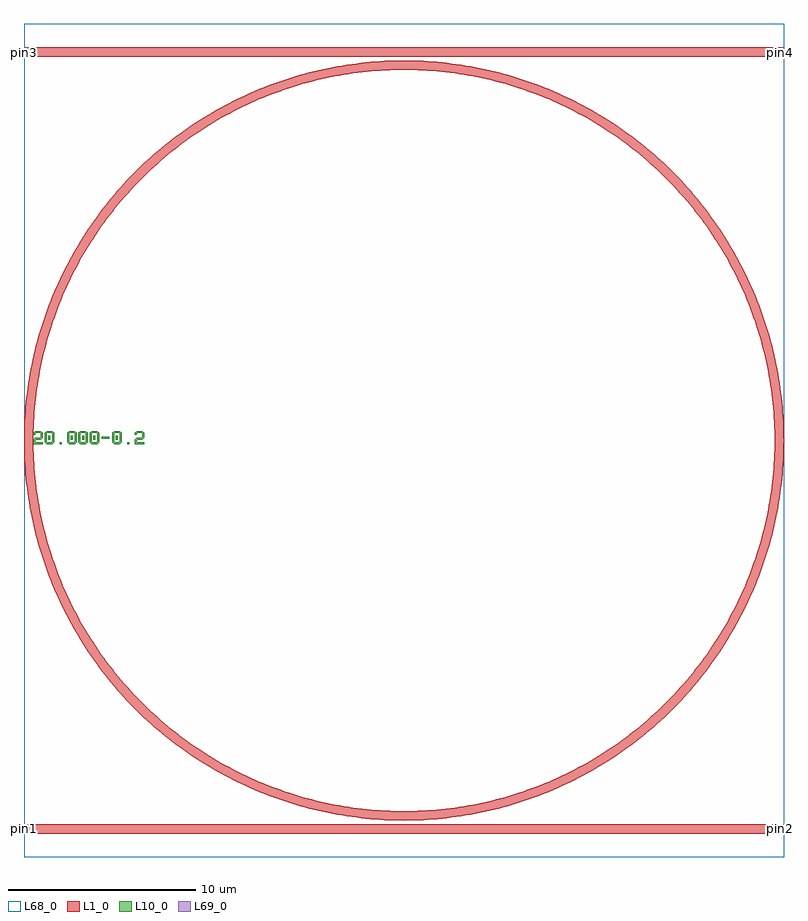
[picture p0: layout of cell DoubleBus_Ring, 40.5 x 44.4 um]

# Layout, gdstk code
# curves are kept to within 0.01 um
import gdstk
lib = gdstk.Library(unit=1e-6, precision=1e-09)
def R(c, l, rs):  # rectangles x0, y0, x1, y1
    for r in rs: c.add(gdstk.rectangle(r[:2], r[2:], *l))
def A(c, l, x, y, w, h, nx, ny, dx, dy):  # array of equal rectangles
    R(c, l, [(x+i*dx, y+j*dy, x+i*dx+w, y+j*dy+h) for i in range(nx) for j in range(ny)])
def P(c, l, *ps):  # polygons
    for p in ps: c.add(gdstk.Polygon(p, *l))
L1_0 = (1, 0)
L10_0 = (10, 0)
L68_0 = (68, 0)
L69_0 = (69, 0)

doublebus_ring = lib.new_cell('DoubleBus_Ring')
R(doublebus_ring, L1_0, [(0,-0.25,40.5,0.25), (0,41.15,40.5,41.65)])
P(doublebus_ring, L1_0, [(20.25,0.45),(19.233,0.476),(18.218,0.552),(17.208,0.68),(16.206,0.858),(15.461,1.024),(14.478,1.29),(13.51,1.604),(12.559,1.967),(11.628,2.377),(10.718,2.834),(9.833,3.335),(8.973,3.88),(8.347,4.317),(7.539,4.936),(6.763,5.595),(6.021,6.291),(5.315,7.025),(4.647,7.792),(4.018,8.592),(3.43,9.423),(2.885,10.283),(2.384,11.168),(1.927,12.078),(1.517,13.009),(1.154,13.96),(0.84,14.928),(0.574,15.911),(0.408,16.656),(0.23,17.658),(0.102,18.668),(0.026,19.683),(0,20.7),(0.026,21.717),(0.102,22.732),(0.23,23.742),(0.408,24.744),(0.574,25.489),(0.84,26.472),(1.154,27.44),(1.517,28.391),(1.927,29.322),(2.384,30.232),(2.885,31.117),(3.43,31.977),(3.867,32.603),(4.486,33.411),(5.145,34.187),(5.841,34.929),(6.575,35.635),(7.342,36.303),(8.142,36.932),(8.973,37.52),(9.833,38.065),(10.718,38.566),(11.628,39.023),(12.559,39.433),(13.51,39.796),(14.478,40.11),(15.461,40.376),(16.206,40.542),(17.208,40.72),(18.218,40.848),(19.233,40.924),(20.25,40.95),(21.267,40.924),(22.282,40.848),(23.292,40.72),(24.294,40.542),(25.039,40.376),(26.022,40.11),(26.99,39.796),(27.941,39.433),(28.872,39.023),(29.782,38.566),(30.667,38.065),(31.527,37.52),(32.153,37.083),(32.961,36.464),(33.737,35.805),(34.479,35.109),(35.185,34.375),(35.853,33.608),(36.482,32.808),(37.07,31.977),(37.615,31.117),(38.116,30.232),(38.573,29.322),(38.983,28.391),(39.346,27.44),(39.66,26.472),(39.926,25.489),(40.092,24.744),(40.27,23.742),(40.398,22.732),(40.474,21.717),(40.5,20.7),(40,20.7),(39.986,21.444),(39.924,22.435),(39.844,23.175),(39.737,23.912),(39.551,24.887),(39.38,25.612),(39.109,26.567),(38.874,27.273),(38.425,28.43),(38.12,29.109),(37.791,29.777),(37.186,30.86),(36.515,31.904),(36.081,32.509),(35.625,33.097),(34.816,34.038),(34.303,34.577),(33.77,35.097),(33.218,35.596),(32.647,36.075),(32.059,36.531),(31.454,36.965),(30.833,37.375),(30.197,37.762),(29.106,38.353),(28.434,38.675),(27.751,38.97),(26.589,39.405),(25.879,39.631),(25.162,39.83),(24.437,40.001),(23.707,40.145),(22.971,40.262),(22.232,40.35),(21.49,40.411),(20.746,40.444),(19.506,40.436),(18.762,40.394),(18.021,40.324),(17.283,40.226),(16.549,40.1),(15.338,39.83),(14.621,39.631),(13.911,39.405),(13.211,39.153),(12.52,38.875),(11.841,38.57),(11.173,38.241),(10.519,37.886),(9.878,37.507),(9.252,37.104),(8.641,36.678),(8.047,36.229),(7.471,35.758),(6.912,35.266),(6.373,34.753),(5.684,34.038),(4.875,33.097),(4.127,32.107),(3.443,31.072),(2.825,29.996),(2.275,28.884),(1.797,27.739),(1.391,26.567),(1.06,25.371),(0.805,24.157),(0.626,22.929),(0.539,21.94),(0.5,20.7),(0.539,19.46),(0.656,18.225),(0.85,16.999),(1.12,15.788),(1.391,14.833),(1.797,13.661),(2.275,12.516),(2.825,11.404),(3.443,10.328),(4.127,9.293),(4.875,8.303),(5.684,7.362),(6.55,6.474),(7.471,5.642),(8.441,4.869),(9.459,4.159),(10.519,3.514),(11.173,3.159),(11.617,2.937),(12.749,2.43),(13.911,1.995),(14.859,1.7),(16.063,1.399),(17.283,1.174),(18.515,1.026),(19.754,0.956),(20.746,0.956),(21.985,1.026),(23.217,1.174),(24.437,1.399),(25.641,1.7),(26.589,1.995),(27.751,2.43),(28.883,2.937),(29.327,3.159),(29.981,3.514),(31.041,4.159),(32.059,4.869),(32.839,5.482),(33.77,6.303),(34.647,7.18),(35.468,8.111),(36.081,8.891),(36.791,9.909),(37.436,10.969),(37.791,11.623),(38.013,12.067),(38.52,13.199),(38.955,14.361),(39.181,15.071),(39.38,15.788),(39.65,16.999),(39.844,18.225),(39.961,19.46),(40,20.7),(40.5,20.7),(40.474,19.683),(40.398,18.668),(40.27,17.658),(40.092,16.656),(39.926,15.911),(39.66,14.928),(39.346,13.96),(38.983,13.009),(38.573,12.078),(38.116,11.168),(37.615,10.283),(37.07,9.423),(36.633,8.797),(36.014,7.989),(35.355,7.213),(34.659,6.471),(33.925,5.765),(33.158,5.097),(32.358,4.468),(31.527,3.88),(30.667,3.335),(29.782,2.834),(28.872,2.377),(27.941,1.967),(26.99,1.604),(26.022,1.29),(25.039,1.024),(24.294,0.858),(23.292,0.68),(22.282,0.552),(21.267,0.476)])
A(doublebus_ring, L10_0, 2.5, 20.75, 0.1, 0.2, 3, 1, 0.6, 0)
R(doublebus_ring, L10_0, [(1.9,20.5,2,20.6), (5.5,20.5,5.6,20.6), (1.3,20.75,1.4,20.95), (4.9,20.75,5,20.95), (4.15,20.8,4.55,20.9)])
P(doublebus_ring, L10_0, [(0.5,20.5),(0.5,20.75),(0.6,20.85),(0.85,20.85),(0.9,20.9),(0.9,21.05),(0.85,21.1),(0.65,21.1),(0.6,21.05),(0.6,21),(0.5,21),(0.5,21.1),(0.6,21.2),(0.9,21.2),(1,21.1),(1,20.85),(0.9,20.75),(0.65,20.75),(0.6,20.7),(0.6,20.6),(1,20.6),(1,20.5)],
  [(1.2,20.5),(1.1,20.6),(1.1,21.1),(1.2,21.2),(1.5,21.2),(1.6,21.1),(1.25,21.1),(1.2,21.05),(1.2,20.65),(1.25,20.6),(1.45,20.6),(1.5,20.65),(1.5,21.05),(1.45,21.1),(1.6,21.1),(1.6,20.6),(1.5,20.5)],
  [(2.4,20.5),(2.3,20.6),(2.3,21.1),(2.4,21.2),(2.7,21.2),(2.8,21.1),(2.45,21.1),(2.4,21.05),(2.4,20.65),(2.45,20.6),(2.65,20.6),(2.7,20.65),(2.7,21.05),(2.65,21.1),(2.8,21.1),(2.8,20.6),(2.7,20.5)],
  [(3,20.5),(2.9,20.6),(2.9,21.1),(3,21.2),(3.3,21.2),(3.4,21.1),(3.05,21.1),(3,21.05),(3,20.65),(3.05,20.6),(3.25,20.6),(3.3,20.65),(3.3,21.05),(3.25,21.1),(3.4,21.1),(3.4,20.6),(3.3,20.5)],
  [(3.6,20.5),(3.5,20.6),(3.5,21.1),(3.6,21.2),(3.9,21.2),(4,21.1),(3.65,21.1),(3.6,21.05),(3.6,20.65),(3.65,20.6),(3.85,20.6),(3.9,20.65),(3.9,21.05),(3.85,21.1),(4,21.1),(4,20.6),(3.9,20.5)],
  [(4.8,20.5),(4.7,20.6),(4.7,21.1),(4.8,21.2),(5.1,21.2),(5.2,21.1),(4.85,21.1),(4.8,21.05),(4.8,20.65),(4.85,20.6),(5.05,20.6),(5.1,20.65),(5.1,21.05),(5.05,21.1),(5.2,21.1),(5.2,20.6),(5.1,20.5)],
  [(5.9,20.5),(5.9,20.75),(6,20.85),(6.25,20.85),(6.3,20.9),(6.3,21.05),(6.25,21.1),(6.05,21.1),(6,21.05),(6,21),(5.9,21),(5.9,21.1),(6,21.2),(6.3,21.2),(6.4,21.1),(6.4,20.85),(6.3,20.75),(6.05,20.75),(6,20.7),(6,20.6),(6.4,20.6),(6.4,20.5)])
R(doublebus_ring, L68_0, [(0,-1.5,40.5,42.9)])
doublebus_ring.add(gdstk.FlexPath([(0,0),(0.2,0)], 0.5, ends="flush", simple_path=True, layer=69, datatype=0))  # L69_0
doublebus_ring.add(gdstk.FlexPath([(40.3,0),(40.5,0)], 0.5, ends="flush", simple_path=True, layer=69, datatype=0))  # L69_0
doublebus_ring.add(gdstk.FlexPath([(0,41.4),(0.2,41.4)], 0.5, ends="flush", simple_path=True, layer=69, datatype=0))  # L69_0
doublebus_ring.add(gdstk.FlexPath([(40.3,41.4),(40.5,41.4)], 0.5, ends="flush", simple_path=True, layer=69, datatype=0))  # L69_0
doublebus_ring.add(gdstk.Label('pin1', (0,0), layer=69, texttype=0))
doublebus_ring.add(gdstk.Label('pin2', (40.3,0), layer=69, texttype=0))
doublebus_ring.add(gdstk.Label('pin3', (0,41.4), layer=69, texttype=0))
doublebus_ring.add(gdstk.Label('pin4', (40.3,41.4), layer=69, texttype=0))

lib.write_gds('DoubleBus_Ring.gds')
